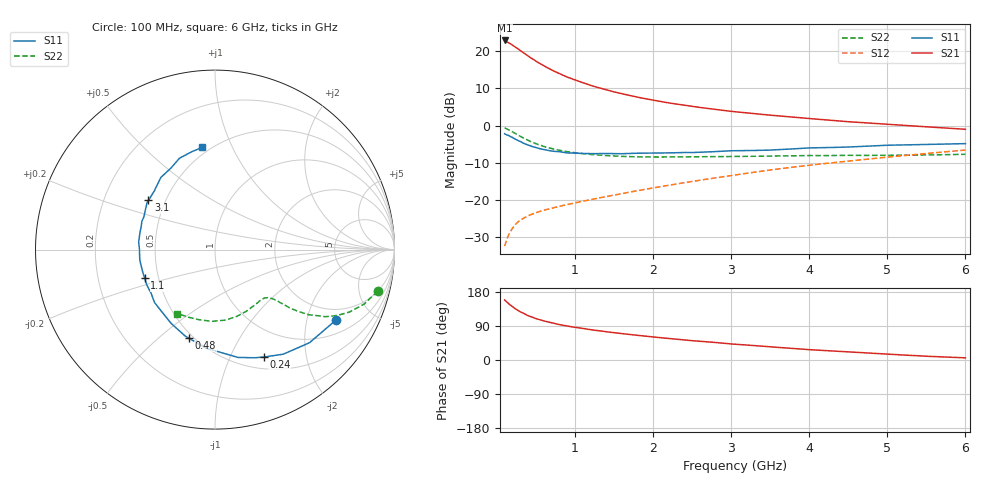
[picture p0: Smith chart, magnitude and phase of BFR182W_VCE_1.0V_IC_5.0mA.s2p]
! Infineon Technologies  Discrete & RF Semiconductors
! BFR182W
! VCE =  1.0 V,  IC =  5.0 mA
! Common Emitter S-Parameters:  Nov 2015
# GHz  S  MA  R  50
!  f  S11  S21  S12  S22
! GHz  MAG  ANG  MAG  ANG  MAG  ANG  MAG  ANG
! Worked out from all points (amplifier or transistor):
!   192 points, 100 MHz to 6 GHz, reference 50 ohm
!   highest |S21| = 22.9 dB at 100 MHz (marker M1)
!   |S21| within 3 dB of that: start of sweep to 319.6 MHz
!   unconditionally stable (mu >= 1): 1.265 GHz to 3.118 GHz
!   at 440 MHz: K = 0.52, MSG = 21.0 dB, |S12| = -23.9 dB
!   at 1.7 GHz: K = 1.08, MAG = 11.3 dB, |S12| = -17.8 dB
!   at 6 GHz: K = 0.81, MSG = 2.8 dB, |S12| = -6.5 dB
!   S11 on the Smith chart (normalised r, x): 100 MHz: 1.50, -3.00; 240 MHz: 0.64, -1.34; 480 MHz: 0.47, -0.64; 1.1 GHz: 0.42, -0.16; 3.1 GHz: 0.40, +0.28; 6 GHz: 0.45, +0.77
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0.1  0.7789 -30.4  13.92 158.5  0.0241 74.4  0.9356 -14.3
0.15  0.7394 -44.5  13.06 148.8  0.034 68.6  0.8845 -20.1
0.2  0.6957 -56.9  12.12 140.5  0.0419 63.5  0.8273 -24.8
0.24  0.657 -65.7  11.31 134.8  0.0473 60.1  0.7807 -27.8
0.3  0.6141 -78.0  10.19 127.2  0.0539 56.6  0.7195 -31.3
0.4  0.5507 -95.5  8.599 116.9  0.0617 52.6  0.6336 -34.9
0.48  0.5148 -106.3  7.583 111.0  0.0666 51.1  0.5836 -36.4
0.5  0.5089 -109.2  7.344 109.3  0.0678 50.8  0.5712 -36.8
0.6  0.4781 -120.8  6.371 103.2  0.0732 50.3  0.5252 -38.0
0.7  0.4566 -130.4  5.593 97.9  0.0777 50.5  0.4921 -38.5
0.8  0.4475 -138.9  4.998 93.5  0.0826 51.0  0.4667 -39.2
0.9  0.4306 -146.0  4.493 89.7  0.0872 51.8  0.4473 -39.4
1.1  0.423 -157.8  3.78 83.4  0.0966 53.7  0.4213 -40.6
1.2  0.4215 -163.2  3.469 80.0  0.1015 54.6  0.4099 -41.2
1.5  0.4214 -175.5  2.84 72.0  0.1168 57.1  0.3911 -43.6
1.8  0.4273 174.5  2.41 65.1  0.1338 59.1  0.381 -46.2
2.08  0.4291 166.1  2.124 59.2  0.1507 60.6  0.3792 -49.7
2.5  0.4355 155.8  1.81 51.0  0.178 61.9  0.3802 -55.1
3.1  0.4611 143.5  1.519 41.0  0.2215 61.8  0.3858 -64.9
4.1  0.5045 125.1  1.222 26.2  0.3021 58.3  0.3966 -83.6
5.1  0.5482 109.7  1.029 14.3  0.3864 52.5  0.4006 -104.1
6  0.5737 97.3  0.894 5.7  0.4705 46.1  0.4129 -120.4
